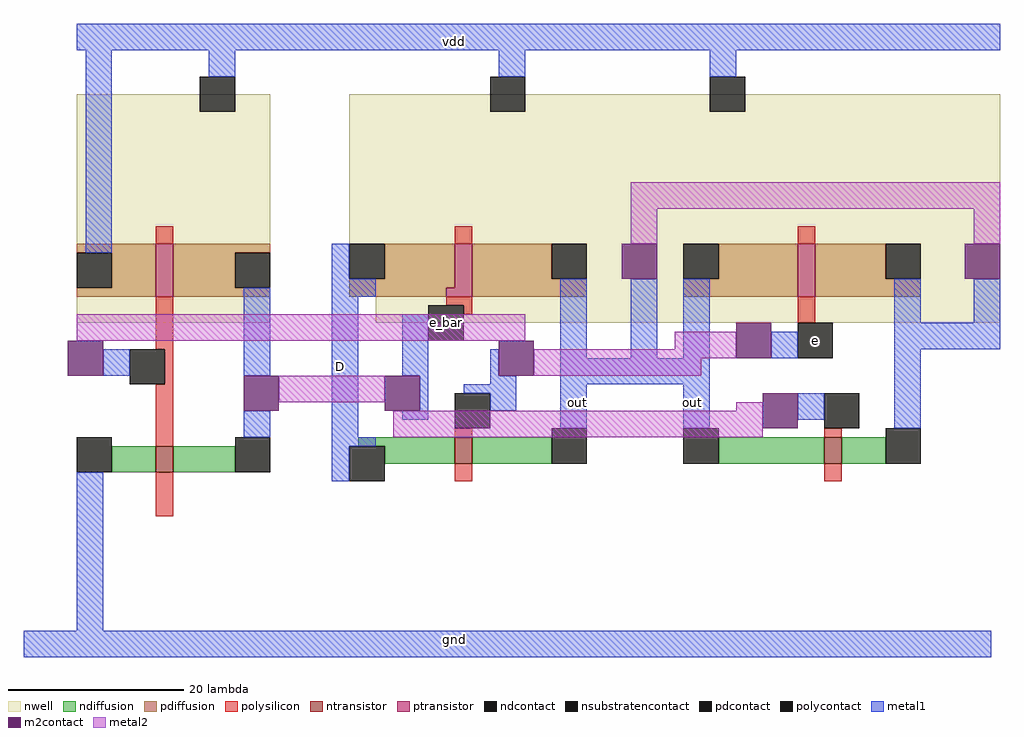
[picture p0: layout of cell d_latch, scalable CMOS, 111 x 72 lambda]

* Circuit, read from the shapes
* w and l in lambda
.subckt d_latch D e e_bar gnd out vdd
M1 e_bar e gnd VSUBS nfet w=3 l=2
M2 out e D VSUBS nfet w=3 l=2
M3 out e_bar out VSUBS nfet w=3 l=2
M4 e_bar e vdd vdd pfet w=6 l=2
M5 D e_bar out vdd pfet w=6.5 l=2
M6 out e out vdd pfet w=6 l=2
.ends

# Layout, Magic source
magic
tech scmos
<< nwell >>
rect 6 38 28 64
rect 37 41 111 64
rect 40 38 111 41
<< polysilicon >>
rect 15 47 17 49
rect 49 47 51 49
rect 88 47 90 49
rect 15 35 17 41
rect 48 40 51 41
rect 50 39 51 40
rect 88 38 90 41
rect 16 31 17 35
rect 15 24 17 31
rect 49 25 51 26
rect 15 16 17 21
rect 91 25 93 26
rect 49 20 51 22
rect 91 20 93 22
<< ndiffusion >>
rect 10 21 15 24
rect 17 21 24 24
rect 38 24 49 25
rect 41 22 49 24
rect 51 22 60 25
rect 79 22 91 25
rect 93 22 98 25
<< pdiffusion >>
rect 6 46 15 47
rect 10 42 15 46
rect 6 41 15 42
rect 17 46 28 47
rect 17 42 24 46
rect 17 41 28 42
rect 41 43 49 47
rect 37 42 49 43
rect 51 43 60 47
rect 37 41 48 42
rect 51 41 64 43
rect 79 43 88 47
rect 75 41 88 43
rect 90 43 98 47
rect 90 41 102 43
<< metal1 >>
rect 6 69 111 72
rect 7 46 10 69
rect 21 66 24 69
rect 54 66 57 69
rect 78 66 81 69
rect 9 32 12 35
rect 25 32 28 42
rect 35 43 37 47
rect 35 41 40 43
rect 25 25 28 28
rect 35 25 38 41
rect 43 32 46 39
rect 45 28 46 32
rect 53 32 54 35
rect 61 34 64 43
rect 69 34 72 43
rect 75 34 78 43
rect 99 38 102 43
rect 108 38 111 43
rect 85 34 88 37
rect 99 35 111 38
rect 53 31 56 32
rect 50 30 56 31
rect 43 27 46 28
rect 53 28 56 30
rect 61 31 78 34
rect 61 26 64 31
rect 35 24 40 25
rect 6 3 9 21
rect 35 20 37 24
rect 75 26 78 31
rect 88 27 91 30
rect 99 26 102 35
rect 0 0 110 3
<< metal2 >>
rect 69 51 111 54
rect 69 47 72 51
rect 108 47 111 51
rect 6 36 57 39
rect 74 35 81 37
rect 58 34 81 35
rect 58 32 77 34
rect 29 29 41 32
rect 81 28 84 29
rect 42 25 84 28
<< ntransistor >>
rect 15 21 17 24
rect 49 22 51 25
rect 91 22 93 25
<< ptransistor >>
rect 15 41 17 47
rect 49 42 51 47
rect 48 41 51 42
rect 88 41 90 47
<< polycontact >>
rect 46 36 50 40
rect 12 31 16 35
rect 88 34 92 38
rect 49 26 53 30
rect 91 26 95 30
<< ndcontact >>
rect 6 21 10 25
rect 24 21 28 25
rect 37 20 41 24
rect 60 22 64 26
rect 75 22 79 26
rect 98 22 102 26
<< pdcontact >>
rect 6 42 10 46
rect 24 42 28 46
rect 37 43 41 47
rect 60 43 64 47
rect 75 43 79 47
rect 98 43 102 47
<< m2contact >>
rect 5 32 9 36
rect 68 43 72 47
rect 25 28 29 32
rect 41 28 45 32
rect 54 32 58 36
rect 107 43 111 47
rect 81 34 85 38
rect 84 26 88 30
<< nsubstratencontact >>
rect 20 62 24 66
rect 53 62 57 66
rect 78 62 82 66
<< labels >>
rlabel metal1 63 29 63 29 7 out
rlabel metal1 49 70 49 70 5 vdd
rlabel metal1 49 2 49 2 1 gnd
rlabel polycontact 48 38 48 38 1 e_bar
rlabel metal1 36 33 36 33 1 D
rlabel metal1 76 29 76 29 3 out
rlabel polycontact 90 36 90 36 1 e
<< end >>
